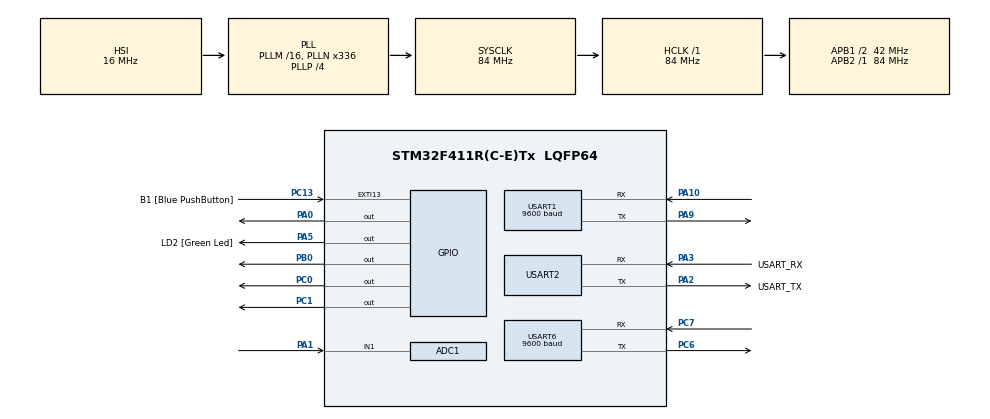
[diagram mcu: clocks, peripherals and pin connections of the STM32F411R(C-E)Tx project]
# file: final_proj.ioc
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ADC1.Channel-1\#ChannelRegularConversion=ADC_CHANNEL_1
ADC1.NbrOfConversionFlag=1
ADC1.Rank-1\#ChannelRegularConversion=1
ADC1.SamplingTime-1\#ChannelRegularConversion=ADC_SAMPLETIME_3CYCLES
ADC1.master=1
Mcu.Family=STM32F4
Mcu.Name=STM32F411R(C-E)Tx
Mcu.Package=LQFP64
NVIC.ADC_IRQn=true\:0\:0\:false\:false\:true\:true\:true\:true
NVIC.EXTI15_10_IRQn=true\:0\:0\:false\:false\:true\:true\:true\:true
NVIC.PriorityGroup=NVIC_PRIORITYGROUP_0
NVIC.TIM1_BRK_TIM9_IRQn=true\:0\:0\:false\:false\:true\:true\:true\:true
NVIC.TIM1_CC_IRQn=true\:0\:0\:false\:false\:true\:true\:true\:true
NVIC.TIM1_TRG_COM_TIM11_IRQn=true\:0\:0\:false\:false\:true\:true\:true\:true
NVIC.TIM1_UP_TIM10_IRQn=true\:0\:0\:true\:false\:true\:true\:true\:true
NVIC.USART1_IRQn=true\:0\:0\:false\:false\:true\:true\:true\:true
NVIC.USART2_IRQn=true\:0\:0\:false\:false\:true\:true\:true\:true
NVIC.USART6_IRQn=true\:0\:0\:false\:false\:true\:true\:true\:true
PA0-WKUP.Signal=GPIO_Output
PA1.Signal=ADCx_IN1
PA10.Mode=Asynchronous
PA10.Signal=USART1_RX
PA13.GPIO_Label=TMS
PA13.Mode=Serial_Wire
PA13.Signal=SYS_JTMS-SWDIO
PA14.GPIO_Label=TCK
PA14.Mode=Serial_Wire
PA14.Signal=SYS_JTCK-SWCLK
PA2.GPIO_Label=USART_TX
PA2.Mode=Asynchronous
PA2.Signal=USART2_TX
PA3.GPIO_Label=USART_RX
PA3.Mode=Asynchronous
PA3.Signal=USART2_RX
PA5.GPIO_Label=LD2 [Green Led]
PA5.Signal=GPIO_Output
PA9.Mode=Asynchronous
PA9.Signal=USART1_TX
PB0.Signal=GPIO_Output
PB3.GPIO_Label=SWO
PB3.Signal=SYS_JTDO-SWO
PC0.Signal=GPIO_Output
PC1.Signal=GPIO_Output
PC13-ANTI_TAMP.GPIO_Label=B1 [Blue PushButton]
PC13-ANTI_TAMP.GPIO_ModeDefaultEXTI=GPIO_MODE_IT_FALLING
PC13-ANTI_TAMP.Signal=GPXTI13
PC14-OSC32_IN.Mode=LSE-External-Oscillator
PC14-OSC32_IN.Signal=RCC_OSC32_IN
PC15-OSC32_OUT.Mode=LSE-External-Oscillator
PC15-OSC32_OUT.Signal=RCC_OSC32_OUT
PC6.Mode=Asynchronous
PC6.Signal=USART6_TX
PC7.Mode=Asynchronous
PC7.Signal=USART6_RX
PH0\ -\ OSC_IN.Mode=HSE-External-Clock-Source
PH0\ -\ OSC_IN.Signal=RCC_OSC_IN
PH1\ -\ OSC_OUT.Mode=HSE-External-Clock-Source
PH1\ -\ OSC_OUT.Signal=RCC_OSC_OUT
ProjectManager.HeapSize=0x200
ProjectManager.StackSize=0x400
ProjectManager.TargetToolchain=STM32CubeIDE
RCC.48MHZClocksFreq_Value=84000000
RCC.AHBFreq_Value=84000000
RCC.APB1CLKDivider=RCC_HCLK_DIV2
RCC.APB1Freq_Value=42000000
RCC.APB1TimFreq_Value=84000000
RCC.APB2Freq_Value=84000000
RCC.APB2TimFreq_Value=84000000
RCC.CortexFreq_Value=84000000
RCC.FLatency-AdvancedSettings=FLASH_LATENCY_2
RCC.HCLKFreq_Value=84000000
RCC.HSE_VALUE=8000000
RCC.HSI_VALUE=16000000
RCC.PLLN=336
RCC.PLLP=RCC_PLLP_DIV4
RCC.SYSCLKFreq_VALUE=84000000
RCC.SYSCLKSource=RCC_SYSCLKSOURCE_PLLCLK
RCC.VCOOutputFreq_Value=336000000
SH.ADCx_IN1.0=ADC1_IN1,IN1
TIM1.Period=4999
TIM1.Prescaler=25199
USART1.BaudRate=9600
USART1.Mode=MODE_RX
USART1.VirtualMode=VM_ASYNC
USART2.VirtualMode=VM_ASYNC
USART6.BaudRate=9600
USART6.VirtualMode=VM_ASYNC
VP_TIM1_VS_ClockSourceINT.Mode=Internal
board=NUCLEO-F411RE

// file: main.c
/* USER CODE BEGIN Header */
/**
  ******************************************************************************
  * @file           : main.c
  * @brief          : Main program body
  ******************************************************************************
  * @attention
  *
  * Copyright (c) 2024 STMicroelectronics.
  * All rights reserved.
  *
  * This software is licensed under terms that can be found in the LICENSE file
  * in the root directory of this software component.
  * If no LICENSE file comes with this software, it is provided AS-IS.
  *
  ******************************************************************************
  */
/* USER CODE END Header */
#include "main.h"

ADC_HandleTypeDef hadc1;

TIM_HandleTypeDef htim1;

UART_HandleTypeDef huart1;
UART_HandleTypeDef huart2;
UART_HandleTypeDef huart6;

void SystemClock_Config(void);
static void MX_GPIO_Init(void);
static void MX_USART2_UART_Init(void);
static void MX_ADC1_Init(void);
static void MX_TIM1_Init(void);
static void MX_USART1_UART_Init(void);
static void MX_USART6_UART_Init(void);

/* USER CODE BEGIN 0 */
volatile uint8_t measurement_flag = 0;
volatile uint8_t dataReceived;
volatile uint8_t buffer[100];
volatile uint16_t head = 0;
volatile uint16_t tail = 0;
char nmeaSentence[100];
char pmbuffer[100];
char latlongbuffer[64];

/* Process positioning data from GPS */
void processNMEA() {
    if (strncmp(nmeaSentence, "$GPGLL", 6) == 0) {
        char *latitude = strtok(nmeaSentence + 7, ",");
        char *latDirection = strtok(NULL, ",");
        char *longitude = strtok(NULL, ",");
        char *lonDirection = strtok(NULL, ",");

        if (latitude && latDirection && longitude && lonDirection) {
            // Output latitude and longitude for debugging
//            HAL_UART_Transmit(&huart2, "Latitude: ", 10, HAL_MAX_DELAY);
//            HAL_UART_Transmit(&huart2, latitude, latDirection-latitude, HAL_MAX_DELAY);
//            HAL_UART_Transmit(&huart2, "Longitude: ", 11, HAL_MAX_DELAY);
//            HAL_UART_Transmit(&huart2, longitude, lonDirection-longitude, HAL_MAX_DELAY);
            sprintf(latlongbuffer,"%s,%s,%s,%s\n",latitude,latDirection,longitude,lonDirection);
        } else {
//        	use dummy data when real data is not ready.
//        	set to CU's Engineering faculty position.
        	sprintf(latlongbuffer, "1373.70076,N,10053.31733,E\n");
        }
    }
}

/* Read PM2.5 sensor */
static float read_PM25_sensor(void)
{
  HAL_GPIO_WritePin(GPIOA,GPIO_PIN_0, GPIO_PIN_RESET);
  //HAL_Delay(280);
  HAL_ADC_Start(&hadc1);
  HAL_ADC_PollForConversion(&hadc1, HAL_MAX_DELAY);
  uint32_t adcValue = HAL_ADC_GetValue(&hadc1);
  HAL_Delay(40);
  HAL_GPIO_WritePin(GPIOA,GPIO_PIN_0, GPIO_PIN_SET);

  // Convert ADC value to PM2.5 using the appropriate calculation
  float voltage = ((3.3*adcValue)/4095);
  /*if(voltage <= 0.9) {
	  voltage = 0.9;
  }*/
  float dustValue = (voltage)*0.17;
  // Example: return adcValue / 10;  // Placeholder conversion formula
  return dustValue;  // Use the real conversion formula here
}

/* this function is not used but maybe useful */
/* strips whitespace off the beginning and the end of a string */
/*
void stripWhitespace(char *str) {
    // Handle NULL pointer
    if (str == NULL) {
        return;
    }

    // Trim leading whitespace
    char *start = str;
    while (*start && isspace((unsigned char)*start)) {
        start++;
    }

    // Trim trailing whitespace
    char *end = start + strlen(start) - 1;
    while (end > start && isspace((unsigned char)*end)) {
        end--;
    }
    *(end + 1) = '\0'; // Null-terminate the trimmed string

    // Move the trimmed string to the beginning of the original buffer
    if (start != str) {
        memmove(str, start, (end - start) + 2);
    }
}
*/

/* USER CODE END 0 */

int main(void)
{

  /* MCU Configuration--------------------------------------------------------*/

  /* Reset of all peripherals, Initializes the Flash interface and the Systick. */
  HAL_Init();

  /* Configure the system clock */
  SystemClock_Config();

  /* Initialize all configured peripherals */
  MX_GPIO_Init();
  MX_USART2_UART_Init();
  MX_ADC1_Init();
  MX_TIM1_Init();
  MX_USART1_UART_Init();
  MX_USART6_UART_Init();
  /* USER CODE BEGIN 2 */
  HAL_UART_Receive_IT(&huart1, &dataReceived, sizeof(dataReceived));
  HAL_TIM_Base_Start_IT(&htim1);
  /* USER CODE END 2 */

  /* Infinite loop */
  /* USER CODE BEGIN WHILE */
  while (1)
   {
 	  /* check if GPS's message is complete or not */
 	  /* call processNMEA() is complete */
		if(measurement_flag) {
			measurement_flag = 0;
		    float pm25 = read_PM25_sensor();
		    // Turn LED on according dustval
		    if(pm25 < 0.05) {
		    	HAL_GPIO_WritePin(GPIOC, GPIO_PIN_0, GPIO_PIN_SET);
		    	HAL_GPIO_WritePin(GPIOC, GPIO_PIN_1, GPIO_PIN_RESET);
		    	HAL_GPIO_WritePin(GPIOB, GPIO_PIN_0, GPIO_PIN_RESET);
		    } else if (pm25 < 0.15){
		    	HAL_GPIO_WritePin(GPIOC, GPIO_PIN_1, GPIO_PIN_SET);
		    	HAL_GPIO_WritePin(GPIOC, GPIO_PIN_0, GPIO_PIN_RESET);
		    	HAL_GPIO_WritePin(GPIOB, GPIO_PIN_0, GPIO_PIN_RESET);
		    } else {
		    	HAL_GPIO_WritePin(GPIOB, GPIO_PIN_0, GPIO_PIN_SET);
		    	HAL_GPIO_WritePin(GPIOC, GPIO_PIN_0, GPIO_PIN_RESET);
		    	HAL_GPIO_WritePin(GPIOC, GPIO_PIN_1, GPIO_PIN_RESET);
		    }
		    // Decompose dustval to string (sprintf won't work with float)
		    int before_decimal = (int)pm25;
		    int after_decimal = (int)(100*(pm25-before_decimal));
		    sprintf(pmbuffer, "s%d.%d,", before_decimal, after_decimal);
		    // Transmit the message to ESP8266 in the correct format
		    HAL_UART_Transmit(&huart6, strcat(pmbuffer,latlongbuffer) , strlen(pmbuffer), HAL_MAX_DELAY);

		    // uncomment to debug (print the sent message to console (baudrate=115200))
		    HAL_UART_Transmit(&huart2, (uint8_t*)pmbuffer, strlen(pmbuffer), HAL_MAX_DELAY);
		}
 	  while (tail != head) {
 		  static uint8_t bufferIndex = 0;
 		  uint8_t byte = buffer[tail];
 		  tail = (tail + 1) % 100;

 		  if(byte == '\n') {
 			  nmeaSentence[bufferIndex] = '\0';
 			  bufferIndex = 0;
 			  processNMEA();
 		  } else {
 			  nmeaSentence[bufferIndex++] = byte;
 			  if (bufferIndex >= sizeof(nmeaSentence) - 1) {
 				  bufferIndex = 0; // Prevent buffer overflow
 			  }
 		  }
 	  }
    /* USER CODE END WHILE */

  }
}

void SystemClock_Config(void)
{
  RCC_OscInitTypeDef RCC_OscInitStruct = {0};
  RCC_ClkInitTypeDef RCC_ClkInitStruct = {0};

  /** Configure the main internal regulator output voltage
  */
  __HAL_RCC_PWR_CLK_ENABLE();
  __HAL_PWR_VOLTAGESCALING_CONFIG(PWR_REGULATOR_VOLTAGE_SCALE1);

  /** Initializes the RCC Oscillators according to the specified parameters
  * in the RCC_OscInitTypeDef structure.
  */
  RCC_OscInitStruct.OscillatorType = RCC_OSCILLATORTYPE_HSI;
  RCC_OscInitStruct.HSIState = RCC_HSI_ON;
  RCC_OscInitStruct.HSICalibrationValue = RCC_HSICALIBRATION_DEFAULT;
  RCC_OscInitStruct.PLL.PLLState = RCC_PLL_ON;
  RCC_OscInitStruct.PLL.PLLSource = RCC_PLLSOURCE_HSI;
  RCC_OscInitStruct.PLL.PLLM = 16;
  RCC_OscInitStruct.PLL.PLLN = 336;
  RCC_OscInitStruct.PLL.PLLP = RCC_PLLP_DIV4;
  RCC_OscInitStruct.PLL.PLLQ = 4;
  if (HAL_RCC_OscConfig(&RCC_OscInitStruct) != HAL_OK)
  {
    Error_Handler();
  }

  /** Initializes the CPU, AHB and APB buses clocks
  */
  RCC_ClkInitStruct.ClockType = RCC_CLOCKTYPE_HCLK|RCC_CLOCKTYPE_SYSCLK
                              |RCC_CLOCKTYPE_PCLK1|RCC_CLOCKTYPE_PCLK2;
  RCC_ClkInitStruct.SYSCLKSource = RCC_SYSCLKSOURCE_PLLCLK;
  RCC_ClkInitStruct.AHBCLKDivider = RCC_SYSCLK_DIV1;
  RCC_ClkInitStruct.APB1CLKDivider = RCC_HCLK_DIV2;
  RCC_ClkInitStruct.APB2CLKDivider = RCC_HCLK_DIV1;

  if (HAL_RCC_ClockConfig(&RCC_ClkInitStruct, FLASH_LATENCY_2) != HAL_OK)
  {
    Error_Handler();
  }
}

static void MX_ADC1_Init(void)
{

  ADC_ChannelConfTypeDef sConfig = {0};

  /** Configure the global features of the ADC (Clock, Resolution, Data Alignment and number of conversion)
  */
  hadc1.Instance = ADC1;
  hadc1.Init.ClockPrescaler = ADC_CLOCK_SYNC_PCLK_DIV4;
  hadc1.Init.Resolution = ADC_RESOLUTION_12B;
  hadc1.Init.ScanConvMode = DISABLE;
  hadc1.Init.ContinuousConvMode = DISABLE;
  hadc1.Init.DiscontinuousConvMode = DISABLE;
  hadc1.Init.ExternalTrigConvEdge = ADC_EXTERNALTRIGCONVEDGE_NONE;
  hadc1.Init.ExternalTrigConv = ADC_SOFTWARE_START;
  hadc1.Init.DataAlign = ADC_DATAALIGN_RIGHT;
  hadc1.Init.NbrOfConversion = 1;
  hadc1.Init.DMAContinuousRequests = DISABLE;
  hadc1.Init.EOCSelection = ADC_EOC_SINGLE_CONV;
  if (HAL_ADC_Init(&hadc1) != HAL_OK)
  {
    Error_Handler();
  }

  /** Configure for the selected ADC regular channel its corresponding rank in the sequencer and its sample time.
  */
  sConfig.Channel = ADC_CHANNEL_1;
  sConfig.Rank = 1;
  sConfig.SamplingTime = ADC_SAMPLETIME_3CYCLES;
  if (HAL_ADC_ConfigChannel(&hadc1, &sConfig) != HAL_OK)
  {
    Error_Handler();
  }

}

static void MX_TIM1_Init(void)
{

  TIM_ClockConfigTypeDef sClockSourceConfig = {0};
  TIM_MasterConfigTypeDef sMasterConfig = {0};

  htim1.Instance = TIM1;
  htim1.Init.Prescaler = 25199;
  htim1.Init.CounterMode = TIM_COUNTERMODE_UP;
  htim1.Init.Period = 4999;
  htim1.Init.ClockDivision = TIM_CLOCKDIVISION_DIV1;
  htim1.Init.RepetitionCounter = 0;
  htim1.Init.AutoReloadPreload = TIM_AUTORELOAD_PRELOAD_DISABLE;
  if (HAL_TIM_Base_Init(&htim1) != HAL_OK)
  {
    Error_Handler();
  }
  sClockSourceConfig.ClockSource = TIM_CLOCKSOURCE_INTERNAL;
  if (HAL_TIM_ConfigClockSource(&htim1, &sClockSourceConfig) != HAL_OK)
  {
    Error_Handler();
  }
  sMasterConfig.MasterOutputTrigger = TIM_TRGO_RESET;
  sMasterConfig.MasterSlaveMode = TIM_MASTERSLAVEMODE_DISABLE;
  if (HAL_TIMEx_MasterConfigSynchronization(&htim1, &sMasterConfig) != HAL_OK)
  {
    Error_Handler();
  }

}

static void MX_USART1_UART_Init(void)
{

  huart1.Instance = USART1;
  huart1.Init.BaudRate = 9600;
  huart1.Init.WordLength = UART_WORDLENGTH_8B;
  huart1.Init.StopBits = UART_STOPBITS_1;
  huart1.Init.Parity = UART_PARITY_NONE;
  huart1.Init.Mode = UART_MODE_RX;
  huart1.Init.HwFlowCtl = UART_HWCONTROL_NONE;
  huart1.Init.OverSampling = UART_OVERSAMPLING_16;
  if (HAL_UART_Init(&huart1) != HAL_OK)
  {
    Error_Handler();
  }

}

static void MX_USART2_UART_Init(void)
{

  huart2.Instance = USART2;
  huart2.Init.BaudRate = 115200;
  huart2.Init.WordLength = UART_WORDLENGTH_8B;
  huart2.Init.StopBits = UART_STOPBITS_1;
  huart2.Init.Parity = UART_PARITY_NONE;
  huart2.Init.Mode = UART_MODE_TX_RX;
  huart2.Init.HwFlowCtl = UART_HWCONTROL_NONE;
  huart2.Init.OverSampling = UART_OVERSAMPLING_16;
  if (HAL_UART_Init(&huart2) != HAL_OK)
  {
    Error_Handler();
  }

}

static void MX_USART6_UART_Init(void)
{

  huart6.Instance = USART6;
  huart6.Init.BaudRate = 9600;
  huart6.Init.WordLength = UART_WORDLENGTH_8B;
  huart6.Init.StopBits = UART_STOPBITS_1;
  huart6.Init.Parity = UART_PARITY_NONE;
  huart6.Init.Mode = UART_MODE_TX_RX;
  huart6.Init.HwFlowCtl = UART_HWCONTROL_NONE;
  huart6.Init.OverSampling = UART_OVERSAMPLING_16;
  if (HAL_UART_Init(&huart6) != HAL_OK)
  {
    Error_Handler();
  }

}

static void MX_GPIO_Init(void)
{
  GPIO_InitTypeDef GPIO_InitStruct = {0};

  /* GPIO Ports Clock Enable */
  __HAL_RCC_GPIOC_CLK_ENABLE();
  __HAL_RCC_GPIOH_CLK_ENABLE();
  __HAL_RCC_GPIOA_CLK_ENABLE();
  __HAL_RCC_GPIOB_CLK_ENABLE();

  /*Configure GPIO pin Output Level */
  HAL_GPIO_WritePin(GPIOC, GPIO_PIN_0|GPIO_PIN_1, GPIO_PIN_RESET);

  /*Configure GPIO pin Output Level */
  HAL_GPIO_WritePin(GPIOA, GPIO_PIN_0|LD2_Pin, GPIO_PIN_RESET);

  /*Configure GPIO pin Output Level */
  HAL_GPIO_WritePin(GPIOB, GPIO_PIN_0, GPIO_PIN_RESET);

  /*Configure GPIO pin : B1_Pin */
  GPIO_InitStruct.Pin = B1_Pin;
  GPIO_InitStruct.Mode = GPIO_MODE_IT_FALLING;
  GPIO_InitStruct.Pull = GPIO_NOPULL;
  HAL_GPIO_Init(B1_GPIO_Port, &GPIO_InitStruct);

  /*Configure GPIO pins : PC0 PC1 */
  GPIO_InitStruct.Pin = GPIO_PIN_0|GPIO_PIN_1;
  GPIO_InitStruct.Mode = GPIO_MODE_OUTPUT_PP;
  GPIO_InitStruct.Pull = GPIO_NOPULL;
  GPIO_InitStruct.Speed = GPIO_SPEED_FREQ_LOW;
  HAL_GPIO_Init(GPIOC, &GPIO_InitStruct);

  /*Configure GPIO pins : PA0 LD2_Pin */
  GPIO_InitStruct.Pin = GPIO_PIN_0|LD2_Pin;
  GPIO_InitStruct.Mode = GPIO_MODE_OUTPUT_PP;
  GPIO_InitStruct.Pull = GPIO_NOPULL;
  GPIO_InitStruct.Speed = GPIO_SPEED_FREQ_LOW;
  HAL_GPIO_Init(GPIOA, &GPIO_InitStruct);

  /*Configure GPIO pin : PB0 */
  GPIO_InitStruct.Pin = GPIO_PIN_0;
  GPIO_InitStruct.Mode = GPIO_MODE_OUTPUT_PP;
  GPIO_InitStruct.Pull = GPIO_NOPULL;
  GPIO_InitStruct.Speed = GPIO_SPEED_FREQ_LOW;
  HAL_GPIO_Init(GPIOB, &GPIO_InitStruct);

  /* EXTI interrupt init*/
  HAL_NVIC_SetPriority(EXTI15_10_IRQn, 0, 0);
  HAL_NVIC_EnableIRQ(EXTI15_10_IRQn);

}

/* USER CODE BEGIN 4 */

/* Receive GPS's message */
void HAL_UART_RxCpltCallback(UART_HandleTypeDef *huart) {
	if(huart == &huart1) {
		buffer[head] = dataReceived;
		head = (head + 1) % 100;

		// Re-enable UART receive interrupt
		HAL_UART_Receive_IT(&huart1, &dataReceived, sizeof(dataReceived));
	}
}

/* Call read_PM25_sensor every 15 seconds */
/* Then send all datas to ESP8266 is the format "s{dustval},{latval},{latdir},{lonval},{londir}"  (s to indicate the start of the data)*/
void HAL_TIM_PeriodElapsedCallback(TIM_HandleTypeDef *htim) {
	if(htim == &htim1) {
	    measurement_flag = 1;
	}
}
/* USER CODE END 4 */

void Error_Handler(void)
{
  __disable_irq();
  while (1)
  {
  }
}
